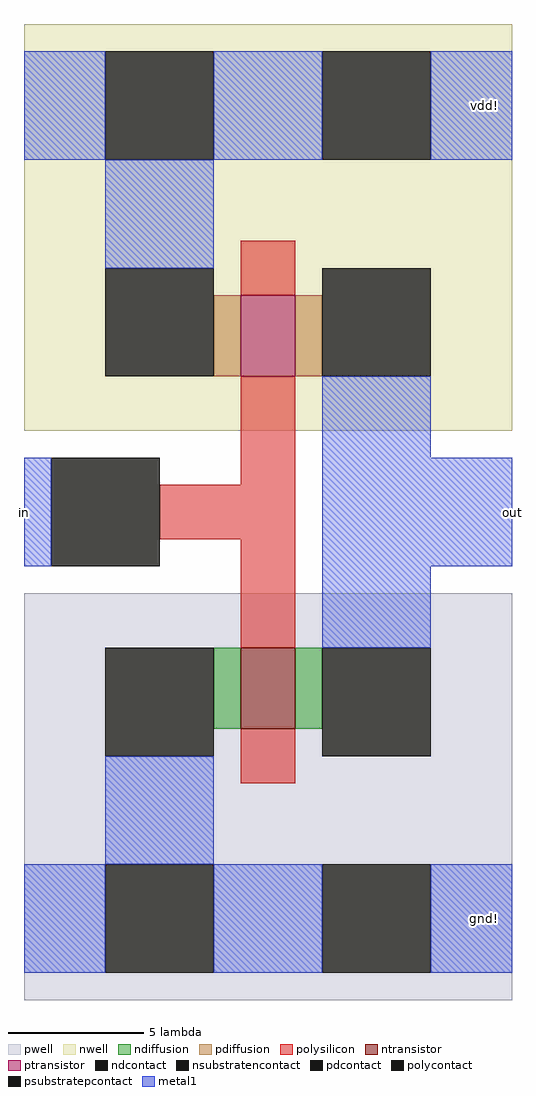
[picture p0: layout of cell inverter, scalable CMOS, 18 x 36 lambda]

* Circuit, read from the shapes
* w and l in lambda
.subckt inverter gnd! in out vdd!
M1 out in gnd! gnd! nfet w=3 l=2
M2 out in vdd! vdd! pfet w=3 l=2
.ends

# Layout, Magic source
magic
tech scmos
<< pwell >>
rect -6 -20 12 -5
<< nwell >>
rect -6 1 12 16
<< polysilicon >>
rect 2 6 4 8
rect 2 -1 4 3
rect -1 -3 4 -1
rect 2 -7 4 -3
rect 2 -12 4 -10
<< ndiffusion >>
rect 1 -10 2 -7
rect 4 -10 5 -7
<< pdiffusion >>
rect 1 3 2 6
rect 4 3 5 6
<< metal1 >>
rect -6 11 -3 15
rect 1 11 5 15
rect 9 11 12 15
rect -3 7 1 11
rect 5 0 9 3
rect -6 -4 -5 0
rect 5 -4 12 0
rect 5 -7 9 -4
rect -3 -15 1 -11
rect -6 -19 -3 -15
rect 1 -19 5 -15
rect 9 -19 12 -15
<< ntransistor >>
rect 2 -10 4 -7
<< ptransistor >>
rect 2 3 4 6
<< polycontact >>
rect -5 -4 -1 0
<< ndcontact >>
rect -3 -11 1 -7
rect 5 -11 9 -7
<< pdcontact >>
rect -3 3 1 7
rect 5 3 9 7
<< psubstratepcontact >>
rect -3 -19 1 -15
rect 5 -19 9 -15
<< nsubstratencontact >>
rect -3 11 1 15
rect 5 11 9 15
<< labels >>
rlabel metal1 12 -4 12 0 1 out
rlabel metal1 -6 -4 -6 0 3 in
rlabel metal1 11 13 11 13 5 vdd!
rlabel metal1 11 -17 11 -17 1 gnd!
<< end >>
